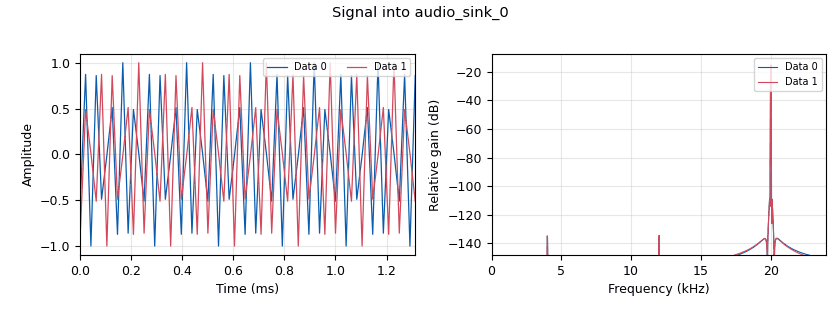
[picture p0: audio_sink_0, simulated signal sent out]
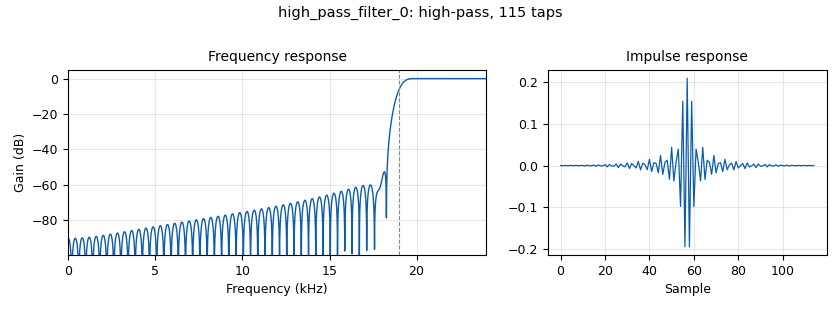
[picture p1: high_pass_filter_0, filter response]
<?xml version='1.0' encoding='utf-8'?>
<?grc format='1' created='3.7.5'?>
<flow_graph>
<block>
<key>options</key>
<param><key>id</key><value>top_block</value></param>
<param><key>generate_options</key><value>wx_gui</value></param>
<param><key>category</key><value>Custom</value></param>
</block>
<block>
<key>variable</key>
<param><key>id</key><value>samp_rate</value></param>
<param><key>value</key><value>48000</value></param>
</block>
<block>
<key>variable</key>
<param><key>id</key><value>freq</value></param>
<param><key>value</key><value>20000</value></param>
</block>
<block>
<key>variable</key>
<param><key>id</key><value>fft_size</value></param>
<param><key>value</key><value>2048</value></param>
</block>
<block>
<key>analog_sig_source_x</key>
<param><key>id</key><value>analog_sig_source_x_0_0</value></param>
<param><key>type</key><value>float</value></param>
<param><key>samp_rate</key><value>samp_rate</value></param>
<param><key>waveform</key><value>analog.GR_SIN_WAVE</value></param>
<param><key>freq</key><value>freq</value></param>
<param><key>amp</key><value>1</value></param>
<param><key>offset</key><value>0</value></param>
</block>
<block>
<key>audio_sink</key>
<param><key>id</key><value>audio_sink_0</value></param>
<param><key>samp_rate</key><value>48000</value></param>
<param><key>num_inputs</key><value>2</value></param>
</block>
<block>
<key>analog_sig_source_x</key>
<param><key>id</key><value>analog_sig_source_x_0</value></param>
<param><key>type</key><value>float</value></param>
<param><key>samp_rate</key><value>samp_rate</value></param>
<param><key>waveform</key><value>analog.GR_COS_WAVE</value></param>
<param><key>freq</key><value>freq</value></param>
<param><key>amp</key><value>1</value></param>
<param><key>offset</key><value>0</value></param>
</block>
<block>
<key>wxgui_constellationsink2</key>
<param><key>id</key><value>wxgui_constellationsink2_0</value></param>
<param><key>_enabled</key><value>False</value></param>
<param><key>title</key><value>Constellation Plot</value></param>
<param><key>samp_rate</key><value>samp_rate</value></param>
<param><key>frame_rate</key><value>5</value></param>
<param><key>const_size</key><value>fft_size</value></param>
<param><key>M</key><value>4</value></param>
<param><key>theta</key><value>0</value></param>
<param><key>loop_bw</key><value>6.28/100.0</value></param>
<param><key>fmax</key><value>0.06</value></param>
<param><key>mu</key><value>0.5</value></param>
<param><key>gain_mu</key><value>0.005</value></param>
<param><key>symbol_rate</key><value>samp_rate/4.</value></param>
<param><key>omega_limit</key><value>0.005</value></param>
</block>
<block>
<key>wxgui_scopesink2</key>
<param><key>id</key><value>wxgui_scopesink2_0</value></param>
<param><key>_enabled</key><value>False</value></param>
<param><key>type</key><value>complex</value></param>
<param><key>title</key><value>Scope Plot</value></param>
<param><key>samp_rate</key><value>samp_rate</value></param>
<param><key>v_scale</key><value>0</value></param>
<param><key>v_offset</key><value>0</value></param>
<param><key>t_scale</key><value>0</value></param>
<param><key>ac_couple</key><value>False</value></param>
<param><key>xy_mode</key><value>False</value></param>
<param><key>num_inputs</key><value>1</value></param>
<param><key>trig_mode</key><value>wxgui.TRIG_MODE_AUTO</value></param>
<param><key>y_axis_label</key><value>Counts</value></param>
</block>
<block>
<key>audio_source</key>
<param><key>id</key><value>audio_source_0</value></param>
<param><key>samp_rate</key><value>samp_rate</value></param>
<param><key>num_outputs</key><value>2</value></param>
</block>
<block>
<key>blocks_float_to_complex</key>
<param><key>id</key><value>blocks_float_to_complex_0</value></param>
</block>
<block>
<key>high_pass_filter</key>
<param><key>id</key><value>high_pass_filter_0</value></param>
<param><key>type</key><value>fir_filter_ccf</value></param>
<param><key>decim</key><value>1</value></param>
<param><key>gain</key><value>1</value></param>
<param><key>samp_rate</key><value>samp_rate</value></param>
<param><key>cutoff_freq</key><value>19e3</value></param>
<param><key>width</key><value>1e3</value></param>
<param><key>win</key><value>firdes.WIN_HAMMING</value></param>
</block>
<block>
<key>band_pass_filter</key>
<param><key>id</key><value>band_pass_filter_0</value></param>
<param><key>_enabled</key><value>False</value></param>
<param><key>type</key><value>fir_filter_ccf</value></param>
<param><key>decim</key><value>1</value></param>
<param><key>gain</key><value>1</value></param>
<param><key>samp_rate</key><value>samp_rate</value></param>
<param><key>low_cutoff_freq</key><value>freq-1e3</value></param>
<param><key>high_cutoff_freq</key><value>freq+1e3</value></param>
<param><key>width</key><value>1e3</value></param>
<param><key>win</key><value>firdes.WIN_HAMMING</value></param>
</block>
<block>
<key>wxgui_waterfallsink2</key>
<param><key>id</key><value>wxgui_waterfallsink2_0</value></param>
<param><key>type</key><value>complex</value></param>
<param><key>title</key><value>Waterfall Plot</value></param>
<param><key>samp_rate</key><value>samp_rate</value></param>
<param><key>baseband_freq</key><value>freq</value></param>
<param><key>dynamic_range</key><value>100</value></param>
<param><key>ref_level</key><value>0</value></param>
<param><key>ref_scale</key><value>2.0</value></param>
<param><key>fft_size</key><value>fft_size</value></param>
<param><key>fft_rate</key><value>20</value></param>
<param><key>average</key><value>False</value></param>
<param><key>avg_alpha</key><value>0</value></param>
<param><key>win</key><value>None</value></param>
<param><key>freqvar</key><value>None</value></param>
</block>
<block>
<key>wxgui_fftsink2</key>
<param><key>id</key><value>wxgui_fftsink2_0</value></param>
<param><key>_enabled</key><value>False</value></param>
<param><key>type</key><value>complex</value></param>
<param><key>title</key><value>FFT Plot</value></param>
<param><key>samp_rate</key><value>samp_rate</value></param>
<param><key>baseband_freq</key><value>freq</value></param>
<param><key>y_per_div</key><value>10</value></param>
<param><key>y_divs</key><value>10</value></param>
<param><key>ref_level</key><value>0</value></param>
<param><key>ref_scale</key><value>2.0</value></param>
<param><key>fft_size</key><value>fft_size</value></param>
<param><key>fft_rate</key><value>15</value></param>
<param><key>peak_hold</key><value>False</value></param>
<param><key>average</key><value>False</value></param>
<param><key>avg_alpha</key><value>0</value></param>
<param><key>win</key><value>None</value></param>
<param><key>freqvar</key><value>None</value></param>
</block>
<block>
<key>freq_xlating_fir_filter_xxx</key>
<param><key>id</key><value>freq_xlating_fir_filter_xxx_0</value></param>
<param><key>type</key><value>ccc</value></param>
<param><key>decim</key><value>1</value></param>
<param><key>taps</key><value>15</value></param>
<param><key>center_freq</key><value>freq</value></param>
<param><key>samp_rate</key><value>samp_rate</value></param>
</block>
<connection><source_block_id>analog_sig_source_x_0</source_block_id><sink_block_id>audio_sink_0</sink_block_id><source_key>0</source_key><sink_key>0</sink_key></connection>
<connection><source_block_id>analog_sig_source_x_0_0</source_block_id><sink_block_id>audio_sink_0</sink_block_id><source_key>0</source_key><sink_key>1</sink_key></connection>
<connection><source_block_id>audio_source_0</source_block_id><sink_block_id>blocks_float_to_complex_0</sink_block_id><source_key>0</source_key><sink_key>0</sink_key></connection>
<connection><source_block_id>audio_source_0</source_block_id><sink_block_id>blocks_float_to_complex_0</sink_block_id><source_key>1</source_key><sink_key>1</sink_key></connection>
<connection><source_block_id>freq_xlating_fir_filter_xxx_0</source_block_id><sink_block_id>wxgui_waterfallsink2_0</sink_block_id><source_key>0</source_key><sink_key>0</sink_key></connection>
<connection><source_block_id>freq_xlating_fir_filter_xxx_0</source_block_id><sink_block_id>wxgui_fftsink2_0</sink_block_id><source_key>0</source_key><sink_key>0</sink_key></connection>
<connection><source_block_id>freq_xlating_fir_filter_xxx_0</source_block_id><sink_block_id>wxgui_scopesink2_0</sink_block_id><source_key>0</source_key><sink_key>0</sink_key></connection>
<connection><source_block_id>freq_xlating_fir_filter_xxx_0</source_block_id><sink_block_id>wxgui_constellationsink2_0</sink_block_id><source_key>0</source_key><sink_key>0</sink_key></connection>
<connection><source_block_id>blocks_float_to_complex_0</source_block_id><sink_block_id>band_pass_filter_0</sink_block_id><source_key>0</source_key><sink_key>0</sink_key></connection>
<connection><source_block_id>band_pass_filter_0</source_block_id><sink_block_id>freq_xlating_fir_filter_xxx_0</sink_block_id><source_key>0</source_key><sink_key>0</sink_key></connection>
<connection><source_block_id>blocks_float_to_complex_0</source_block_id><sink_block_id>high_pass_filter_0</sink_block_id><source_key>0</source_key><sink_key>0</sink_key></connection>
<connection><source_block_id>high_pass_filter_0</source_block_id><sink_block_id>freq_xlating_fir_filter_xxx_0</sink_block_id><source_key>0</source_key><sink_key>0</sink_key></connection>
</flow_graph>
